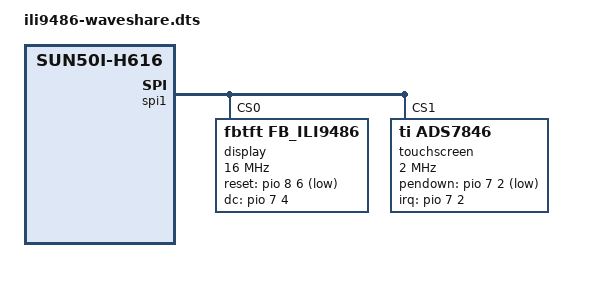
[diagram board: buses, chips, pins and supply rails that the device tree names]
/*
 * Device Tree Overlay for ILI9486 3.5" TFT Display + XPT2046 Touch
 * Target: Orange Pi Zero 2W (Allwinner H618)
 *
 * Display: 480x320 SPI TFT with ILI9486 controller
 * Touch: XPT2046 resistive touchscreen controller
 * Connection: SPI1, Display CS=PH8(CS0), Touch CS=PH9(CS1)
 *             Reset=PI6, DC=PH4, Touch IRQ=PH2
 */
/dts-v1/;
/plugin/;

/ {
    compatible = "allwinner,sun50i-h616";

    fragment@0 {
        target = <&spi1>;
        __overlay__ {
            status = "okay";
            #address-cells = <1>;
            #size-cells = <0>;
            pinctrl-names = "default";
            pinctrl-0 = <&spi1_pins>, <&spi1_cs0_pin>, <&spi1_cs1_pin>;

            display@0 {
                compatible = "fbtft,fb_ili9486";
                reg = <0>;
                spi-max-frequency = <16000000>;
                rotate = <90>;
                bgr;
                fps = <30>;
                buswidth = <8>;
                regwidth = <16>;
                reset-gpios = <&pio 8 6 1>;  /* PI6 - active low */
                dc-gpios = <&pio 7 4 0>;     /* PH4 - active high */
                debug = <0>;
                /* Waveshare 3.5" ILI9486 initialization sequence */
                init = <0x10000f1 0x36 0x04 0x00 0x3c 0x0f 0x8f
                        0x10000f2 0x18 0xa3 0x12 0x02 0xb2 0x12 0xff 0x10 0x00
                        0x10000f8 0x21 0x04
                        0x10000f9 0x00 0x08
                        0x1000036 0x08
                        0x10000b4 0x00
                        0x10000c1 0x41
                        0x10000c5 0x00 0x91 0x80 0x00
                        0x10000e0 0x0f 0x1f 0x1c 0x0c 0x0f 0x08 0x48 0x98 0x37 0x0a 0x13 0x04 0x11 0x0d 0x00
                        0x10000e1 0x0f 0x32 0x2e 0x0b 0x0d 0x05 0x47 0x75 0x37 0x06 0x10 0x03 0x24 0x20 0x00
                        0x100003a 0x55
                        0x1000011
                        0x2000078
                        0x1000029>;
            };

            touchscreen@1 {
                compatible = "ti,ads7846";
                reg = <1>;
                spi-max-frequency = <2000000>;
                interrupts-extended = <&pio 7 2 2>;  /* PH2, IRQ_TYPE_EDGE_FALLING */
                pendown-gpio = <&pio 7 2 1>;         /* PH2 - GPIO 226, active low */
                ti,x-plate-ohms = /bits/ 16 <60>;
                ti,pressure-max = /bits/ 16 <255>;
                ti,x-min = /bits/ 16 <0>;
                ti,x-max = /bits/ 16 <4095>;
                ti,y-min = /bits/ 16 <0>;
                ti,y-max = /bits/ 16 <4095>;
                wakeup-source;
            };
        };
    };
};
